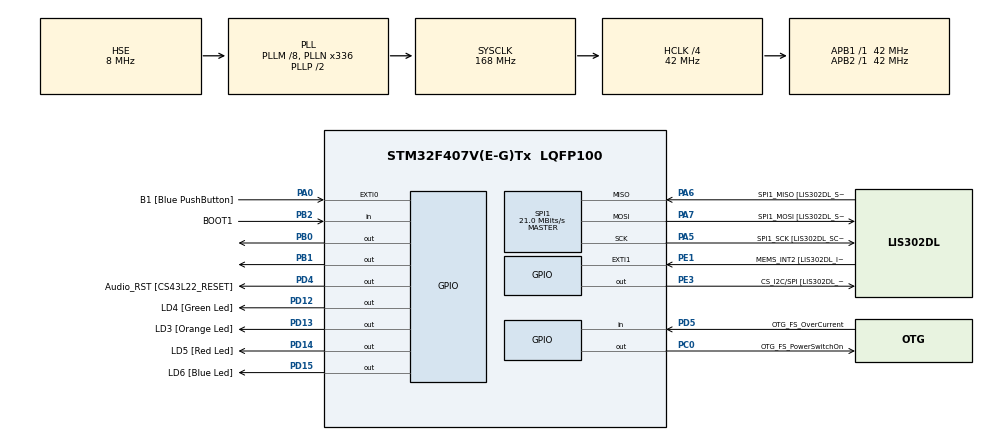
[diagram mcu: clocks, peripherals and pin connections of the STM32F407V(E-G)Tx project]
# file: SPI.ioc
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Mcu.Family=STM32F4
Mcu.Name=STM32F407V(E-G)Tx
Mcu.Package=LQFP100
NVIC.PriorityGroup=NVIC_PRIORITYGROUP_0
PA0-WKUP.GPIO_Label=B1 [Blue PushButton]
PA0-WKUP.GPIO_ModeDefaultEXTI=GPIO_MODE_EVT_RISING
PA0-WKUP.GPIO_PuPd=GPIO_NOPULL
PA0-WKUP.Signal=GPXTI0
PA10.GPIO_Label=OTG_FS_ID
PA10.GPIO_Mode=GPIO_MODE_AF_PP
PA10.GPIO_PuPd=GPIO_NOPULL
PA10.GPIO_Speed=GPIO_SPEED_LOW
PA10.Signal=USB_OTG_FS_ID
PA11.GPIO_Label=OTG_FS_DM
PA11.GPIO_Mode=GPIO_MODE_AF_PP
PA11.GPIO_PuPd=GPIO_NOPULL
PA11.GPIO_Speed=GPIO_SPEED_LOW
PA11.Signal=USB_OTG_FS_DM
PA12.GPIO_Label=OTG_FS_DP
PA12.GPIO_Mode=GPIO_MODE_AF_PP
PA12.GPIO_PuPd=GPIO_NOPULL
PA12.GPIO_Speed=GPIO_SPEED_LOW
PA12.Signal=USB_OTG_FS_DP
PA13.GPIO_Label=SWDIO
PA13.Mode=Trace-Asynchronous_SW
PA13.Signal=SYS_JTMS-SWDIO
PA14.GPIO_Label=SWCLK
PA14.Mode=Trace-Asynchronous_SW
PA14.Signal=SYS_JTCK-SWCLK
PA4.GPIO_Label=I2S3_WS [CS43L22_LRCK]
PA4.GPIO_Mode=GPIO_MODE_AF_PP
PA4.GPIO_PuPd=GPIO_NOPULL
PA4.GPIO_Speed=GPIO_SPEED_LOW
PA4.Signal=I2S3_WS
PA5.GPIO_Label=SPI1_SCK [LIS302DL_SCL/SPC]
PA5.GPIO_Mode=GPIO_MODE_AF_PP
PA5.GPIO_PuPd=GPIO_NOPULL
PA5.GPIO_Speed=GPIO_SPEED_LOW
PA5.Mode=Full_Duplex_Master
PA5.Signal=SPI1_SCK
PA6.GPIO_Label=SPI1_MISO [LIS302DL_SDO]
PA6.GPIO_Mode=GPIO_MODE_AF_PP
PA6.GPIO_PuPd=GPIO_NOPULL
PA6.GPIO_Speed=GPIO_SPEED_LOW
PA6.Mode=Full_Duplex_Master
PA6.Signal=SPI1_MISO
PA7.GPIO_Label=SPI1_MOSI [LIS302DL_SDA/SDI/SDO]
PA7.GPIO_Mode=GPIO_MODE_AF_PP
PA7.GPIO_PuPd=GPIO_NOPULL
PA7.GPIO_Speed=GPIO_SPEED_LOW
PA7.Mode=Full_Duplex_Master
PA7.Signal=SPI1_MOSI
PA9.GPIO_Label=VBUS_FS
PA9.GPIO_Mode=GPIO_MODE_INPUT
PA9.GPIO_PuPd=GPIO_NOPULL
PA9.Signal=USB_OTG_FS_VBUS
PB0.Signal=GPIO_Output
PB1.Signal=GPIO_Output
PB10.GPIO_Label=CLK_IN [MP45DT02_CLK]
PB10.GPIO_Mode=GPIO_MODE_AF_PP
PB10.GPIO_PuPd=GPIO_NOPULL
PB10.GPIO_Speed=GPIO_SPEED_LOW
PB10.Signal=I2S2_CK
PB2.GPIO_Label=BOOT1
PB2.GPIO_Mode=GPIO_MODE_INPUT
PB2.GPIO_PuPd=GPIO_NOPULL
PB2.Signal=GPIO_Input
PB3.GPIO_Label=SWO
PB3.Mode=Trace-Asynchronous_SW
PB3.Signal=SYS_JTDO-SWO
PB6.GPIO_Label=Audio_SCL [CS43L22_SCL]
PB6.GPIO_Mode=GPIO_MODE_AF_OD
PB6.GPIO_PuPd=GPIO_NOPULL
PB6.GPIO_Speed=GPIO_SPEED_LOW
PB6.Signal=I2C1_SCL
PB9.GPIO_Label=Audio_SDA [CS43L22_SDA]
PB9.GPIO_Mode=GPIO_MODE_AF_OD
PB9.GPIO_PuPd=GPIO_NOPULL
PB9.GPIO_Speed=GPIO_SPEED_LOW
PB9.Signal=I2C1_SDA
PC0.GPIO_Label=OTG_FS_PowerSwitchOn
PC0.GPIO_ModeDefaultOutputPP=GPIO_MODE_OUTPUT_PP
PC0.GPIO_PuPd=GPIO_NOPULL
PC0.GPIO_Speed=GPIO_SPEED_LOW
PC0.Signal=GPIO_Output
PC10.GPIO_Label=I2S3_SCK [CS43L22_SCLK]
PC10.GPIO_Mode=GPIO_MODE_AF_PP
PC10.GPIO_PuPd=GPIO_NOPULL
PC10.GPIO_Speed=GPIO_SPEED_LOW
PC10.Signal=I2S3_CK
PC12.GPIO_Label=I2S3_SD [CS43L22_SDIN]
PC12.GPIO_Mode=GPIO_MODE_AF_PP
PC12.GPIO_PuPd=GPIO_NOPULL
PC12.GPIO_Speed=GPIO_SPEED_LOW
PC12.Signal=I2S3_SD
PC14-OSC32_IN.GPIO_Label=PC14-OSC32_IN
PC14-OSC32_IN.Signal=RCC_OSC32_IN
PC15-OSC32_OUT.GPIO_Label=PC15-OSC32_OUT
PC15-OSC32_OUT.Signal=RCC_OSC32_OUT
PC3.GPIO_Label=PDM_OUT [MP45DT02_DOUT]
PC3.GPIO_Mode=GPIO_MODE_AF_PP
PC3.GPIO_PuPd=GPIO_NOPULL
PC3.GPIO_Speed=GPIO_SPEED_LOW
PC3.Signal=I2S2_SD
PC7.GPIO_Label=I2S3_MCK [CS43L22_MCLK]
PC7.GPIO_Mode=GPIO_MODE_AF_PP
PC7.GPIO_PuPd=GPIO_NOPULL
PC7.GPIO_Speed=GPIO_SPEED_LOW
PC7.Signal=I2S3_MCK
PD12.GPIO_Label=LD4 [Green Led]
PD12.GPIO_ModeDefaultOutputPP=GPIO_MODE_OUTPUT_PP
PD12.GPIO_PuPd=GPIO_NOPULL
PD12.GPIO_Speed=GPIO_SPEED_LOW
PD12.Signal=GPIO_Output
PD13.GPIO_Label=LD3 [Orange Led]
PD13.GPIO_ModeDefaultOutputPP=GPIO_MODE_OUTPUT_PP
PD13.GPIO_PuPd=GPIO_NOPULL
PD13.GPIO_Speed=GPIO_SPEED_LOW
PD13.Signal=GPIO_Output
PD14.GPIO_Label=LD5 [Red Led]
PD14.GPIO_ModeDefaultOutputPP=GPIO_MODE_OUTPUT_PP
PD14.GPIO_PuPd=GPIO_NOPULL
PD14.GPIO_Speed=GPIO_SPEED_LOW
PD14.Signal=GPIO_Output
PD15.GPIO_Label=LD6 [Blue Led]
PD15.GPIO_ModeDefaultOutputPP=GPIO_MODE_OUTPUT_PP
PD15.GPIO_PuPd=GPIO_NOPULL
PD15.GPIO_Speed=GPIO_SPEED_LOW
PD15.Signal=GPIO_Output
PD4.GPIO_Label=Audio_RST [CS43L22_RESET]
PD4.GPIO_ModeDefaultOutputPP=GPIO_MODE_OUTPUT_PP
PD4.GPIO_PuPd=GPIO_NOPULL
PD4.GPIO_Speed=GPIO_SPEED_LOW
PD4.Signal=GPIO_Output
PD5.GPIO_Label=OTG_FS_OverCurrent
PD5.GPIO_Mode=GPIO_MODE_INPUT
PD5.GPIO_PuPd=GPIO_NOPULL
PD5.Signal=GPIO_Input
PE1.GPIO_Label=MEMS_INT2 [LIS302DL_INT2]
PE1.GPIO_ModeDefaultEXTI=GPIO_MODE_EVT_RISING
PE1.GPIO_PuPd=GPIO_NOPULL
PE1.Signal=GPXTI1
PE3.GPIO_Label=CS_I2C/SPI [LIS302DL_CS_I2C/SPI]
PE3.GPIO_ModeDefaultOutputPP=GPIO_MODE_OUTPUT_PP
PE3.GPIO_PuPd=GPIO_NOPULL
PE3.GPIO_Speed=GPIO_SPEED_LOW
PE3.Signal=GPIO_Output
PH0-OSC_IN.GPIO_Label=PH0-OSC_IN
PH0-OSC_IN.Mode=HSE-External-Oscillator
PH0-OSC_IN.Signal=RCC_OSC_IN
PH1-OSC_OUT.GPIO_Label=PH1-OSC_OUT
PH1-OSC_OUT.Mode=HSE-External-Oscillator
PH1-OSC_OUT.Signal=RCC_OSC_OUT
ProjectManager.TargetToolchain=TrueSTUDIO
RCC.48MHZClocksFreq_Value=48000000
RCC.AHBCLKDivider=RCC_SYSCLK_DIV4
RCC.AHBFreq_Value=42000000
RCC.APB1Freq_Value=42000000
RCC.APB1TimFreq_Value=42000000
RCC.APB2Freq_Value=42000000
RCC.APB2TimFreq_Value=42000000
RCC.CortexFreq_Value=5250000
RCC.HCLKFreq_Value=42000000
RCC.HSE_VALUE=8000000
RCC.HSI_VALUE=16000000
RCC.LSE_VALUE=32768
RCC.PLLM=8
RCC.PLLN=336
RCC.PLLQ=7
RCC.PLLSource=RCC_PLLSOURCE_HSE
RCC.PLLSourceVirtual=RCC_PLLSOURCE_HSE
RCC.SYSCLKFreq_VALUE=168000000
RCC.SYSCLKSource=RCC_SYSCLKSOURCE_PLLCLK
RCC.VCOOutputFreq_Value=336000000
RCC.VDD_VALUE=3.3
SPI1.CalculateBaudRate=21.0 MBits/s
SPI1.Mode=SPI_MODE_MASTER

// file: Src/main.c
/**
  ******************************************************************************
  * File Name          : main.c
  * Date               : 22/05/2015 23:30:11
  * Description        : Main program body
  ******************************************************************************
  *
  * COPYRIGHT(c) 2015 STMicroelectronics
  *
  * Redistribution and use in source and binary forms, with or without modification,
  * are permitted provided that the following conditions are met:
  *   1. Redistributions of source code must retain the above copyright notice,
  *      this list of conditions and the following disclaimer.
  *   2. Redistributions in binary form must reproduce the above copyright notice,
  *      this list of conditions and the following disclaimer in the documentation
  *      and/or other materials provided with the distribution.
  *   3. Neither the name of STMicroelectronics nor the names of its contributors
  *      may be used to endorse or promote products derived from this software
  *      without specific prior written permission.
  *
  * THIS SOFTWARE IS PROVIDED BY THE COPYRIGHT HOLDERS AND CONTRIBUTORS "AS IS"
  * AND ANY EXPRESS OR IMPLIED WARRANTIES, INCLUDING, BUT NOT LIMITED TO, THE
  * IMPLIED WARRANTIES OF MERCHANTABILITY AND FITNESS FOR A PARTICULAR PURPOSE ARE
  * DISCLAIMED. IN NO EVENT SHALL THE COPYRIGHT HOLDER OR CONTRIBUTORS BE LIABLE
  * FOR ANY DIRECT, INDIRECT, INCIDENTAL, SPECIAL, EXEMPLARY, OR CONSEQUENTIAL
  * DAMAGES (INCLUDING, BUT NOT LIMITED TO, PROCUREMENT OF SUBSTITUTE GOODS OR
  * SERVICES; LOSS OF USE, DATA, OR PROFITS; OR BUSINESS INTERRUPTION) HOWEVER
  * CAUSED AND ON ANY THEORY OF LIABILITY, WHETHER IN CONTRACT, STRICT LIABILITY,
  * OR TORT (INCLUDING NEGLIGENCE OR OTHERWISE) ARISING IN ANY WAY OUT OF THE USE
  * OF THIS SOFTWARE, EVEN IF ADVISED OF THE POSSIBILITY OF SUCH DAMAGE.
  *
  ******************************************************************************
  */

#include "stm32f4xx_hal.h"
#include "spi.h"
#include "gpio.h"

void SystemClock_Config(void);

/* USER CODE BEGIN 0 */
#include "global.h"
#include "ft_gpu.h"
#include "ft800.h"
#include "eve.h"
#include "co_processor.h"

unsigned int cmdBufferRd = 0x0000;																// Used to navigate command ring buffer
unsigned int cmdBufferWr = 0x0000;																// Used to navigate command ring buffer
unsigned int cmdOffset = 0x0000;																// Used to navigate command rung buffer

//static unsigned int dli;
void dl(unsigned long cmd)
{
	ft800memWrite32(RAM_DL + dli, cmd);
	dli += 4;
}
int angle = 10000;
int angle1 = 0;
int sw = 0;
int sw1 = 0;
int sw3 = 0;
int s = 0;
int ss = 0;
int sp = 55;
uint16_t val = 0;
uint16_t val1 = 0;
uint8_t sound = 0;
/* USER CODE END 0 */

int main(void)
{

  /* MCU Configuration----------------------------------------------------------*/

  /* Reset of all peripherals, Initializes the Flash interface and the Systick. */
  HAL_Init();

  /* Configure the system clock */
  SystemClock_Config();

  /* Initialize all configured peripherals */
  MX_GPIO_Init();
  MX_SPI1_Init();

  /* USER CODE BEGIN 2 */
  ft800_Init();
  /* USER CODE END 2 */

  /* Infinite loop */
  while (1)
  {

  /* USER CODE BEGIN 3 */

	do
		{
			cmdBufferRd = ft800memRead16(REG_CMD_READ);															// Read the graphics processor read pointer
			cmdBufferWr = ft800memRead16(REG_CMD_WRITE); 														// Read the graphics processor write pointer
		} while (cmdBufferWr != cmdBufferRd);

	ft800memWrite32(REG_CMD_WRITE, 0);
	ft800memWrite32(REG_CMD_READ, 0);
	HAL_Delay(100);

	do
		{
			cmdBufferRd = ft800memRead16(REG_CMD_READ);															// Read the graphics processor read pointer
			cmdBufferWr = ft800memRead16(REG_CMD_WRITE); 														// Read the graphics processor write pointer
		} while (cmdBufferWr != cmdBufferRd);
	cli = cmdBufferWr;
	cli = 0;

	ft800memWrite32(REG_CMD_WRITE, 0);
	ft800memWrite32(REG_CMD_READ, 0);

	cmd_dlstart();
	//cmd_coldstart();

	cmd(DL_CLEAR_RGB | 0x000000UL);
	cmd(DL_CLEAR | CLR_COL | CLR_STN | CLR_TAG);

	cmd(BEGIN(RECTS));
	cmd(VERTEX2II(1, 203, 0, 0));
	cmd(COLOR_RGB(22, 23, 26));
	cmd(VERTEX2II(496, 291, 0, 0));
	cmd(END());

	cmd_fgcolor(0x57a515);
	cmd(COLOR_RGB(255, 255, 255));
	cmd_button(18, 219, 130, 36, 27, OPT_FLAT, "K1");
	cmd_fgcolor(0xff9900);
	cmd_button(175, 220, 130, 36, 27, OPT_FLAT, "K2");
	cmd_fgcolor(0x99aaaa);
	cmd_button(331, 220, 130, 36, 27, OPT_FLAT, "K3");

	cmd_fgcolor(0x57a515);
	cmd_button(307, 78, 70, 70, 31, OPT_FLAT, "I");
	cmd_clock(241, 150, 43, OPT_FLAT, 13, 51, 17, 0);
	cmd_fgcolor(0x6c6f7c);
	cmd_button(339, 18, 120, 36, 27, OPT_FLAT, "Menu");
	cmd_gauge(99, 101, 90, OPT_FLAT, 10, 5, 61, 100);
	cmd_text(197, 22, 30, 0, "Test");
	cmd_fgcolor(0xfe011b);
	cmd_button(389, 78, 70, 70, 31, OPT_FLAT, "O");
	cmd_text(80, 143, 30, 0, "7.2");
	cmd_text(84, 118, 27, 0, "BAR");
	cmd_text(39, 154, 26, 0, "MIN");
	cmd_text(135, 152, 26, 0, "MAX");
	cmd_text(307, 164, 28, 0, "Status:");
	cmd_button(389, 164, 69, 23, 27, OPT_FLAT, "OFF");

	cmd(DL_END);
	cmd(DL_DISPLAY);
	cmd(CMD_SWAP);

	ft800memWrite16(REG_CMD_WRITE, cli);

	HAL_Delay(10);

  }
  /* USER CODE END 3 */

}

/** System Clock Configuration
*/
void SystemClock_Config(void)
{

  RCC_OscInitTypeDef RCC_OscInitStruct;
  RCC_ClkInitTypeDef RCC_ClkInitStruct;

  __PWR_CLK_ENABLE();

  __HAL_PWR_VOLTAGESCALING_CONFIG(PWR_REGULATOR_VOLTAGE_SCALE2);

  RCC_OscInitStruct.OscillatorType = RCC_OSCILLATORTYPE_HSE;
  RCC_OscInitStruct.HSEState = RCC_HSE_ON;
  RCC_OscInitStruct.PLL.PLLState = RCC_PLL_ON;
  RCC_OscInitStruct.PLL.PLLSource = RCC_PLLSOURCE_HSE;
  RCC_OscInitStruct.PLL.PLLM = 8;
  RCC_OscInitStruct.PLL.PLLN = 336;
  RCC_OscInitStruct.PLL.PLLP = RCC_PLLP_DIV2;
  RCC_OscInitStruct.PLL.PLLQ = 7;
  HAL_RCC_OscConfig(&RCC_OscInitStruct);

  RCC_ClkInitStruct.ClockType = RCC_CLOCKTYPE_HCLK|RCC_CLOCKTYPE_SYSCLK;
  RCC_ClkInitStruct.SYSCLKSource = RCC_SYSCLKSOURCE_PLLCLK;
  RCC_ClkInitStruct.AHBCLKDivider = RCC_SYSCLK_DIV4;
  RCC_ClkInitStruct.APB1CLKDivider = RCC_HCLK_DIV1;
  RCC_ClkInitStruct.APB2CLKDivider = RCC_HCLK_DIV1;
  HAL_RCC_ClockConfig(&RCC_ClkInitStruct, FLASH_LATENCY_1);

}

/************************ (C) COPYRIGHT STMicroelectronics *****END OF FILE****/
